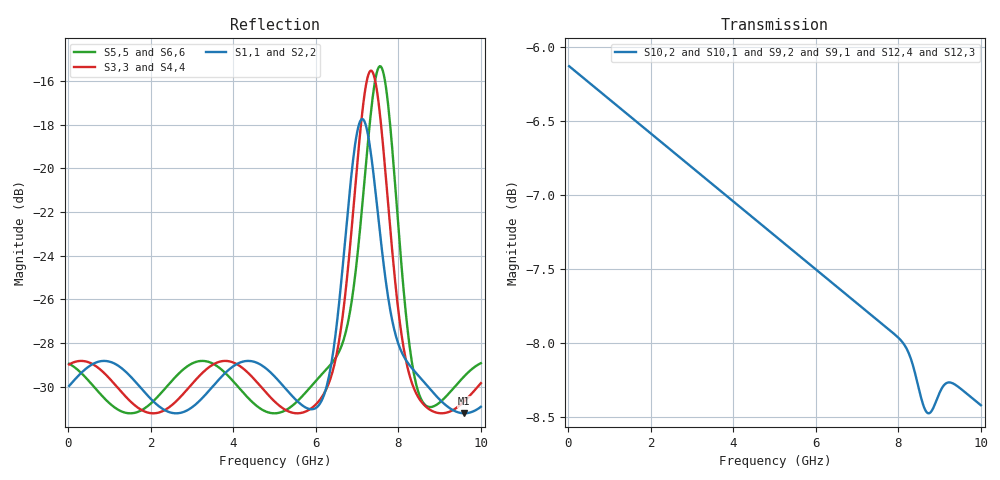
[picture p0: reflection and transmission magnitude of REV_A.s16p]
! SYNTHETIC demonstration only; not a measured board
[Version] 2.1
# GHz S RI R 50
[Number of Ports] 16
! Port[1] = CLK_Near_P
! Port[2] = CLK_Near_N
! Port[9] = CLK_Far_P
! Port[10] = CLK_Far_N
! Port[3] = DATA0_Near_P
! Port[4] = DATA0_Near_N
! Port[11] = DATA0_Far_P
! Port[12] = DATA0_Far_N
! Port[5] = DATA1_Near_P
! Port[6] = DATA1_Near_N
! Port[13] = DATA1_Far_P
! Port[14] = DATA1_Far_N
! Port[7] = DATA2_Near_P
! Port[8] = DATA2_Near_N
! Port[15] = DATA2_Far_P
! Port[16] = DATA2_Far_N
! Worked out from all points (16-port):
!   400 points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, 25 MHz to 10 GHz, reference 50 ohm
!   strongest paths, dB at 25 MHz, 2.525 GHz, 5.025 GHz, 7.525 GHz, 10 GHz:
!     S10,2: -6.1, -6.7, -7.3, -7.9, -8.4
!     S10,1: -6.1, -6.7, -7.3, -7.9, -8.4
!     S9,2: -6.1, -6.7, -7.3, -7.9, -8.4
!     S9,1: -6.1, -6.7, -7.3, -7.9, -8.4
!     S12,4: -6.1, -6.7, -7.4, -8.0, -8.6
!     S12,3: -6.1, -6.7, -7.4, -8.0, -8.6
!   lowest |S11| = -31.2 dB at 9.6 GHz (marker M1), VSWR 1.06, Z = 52.8 - j0.58 ohm
!   |S11| at or under -10 dB: start of sweep to end of sweep
